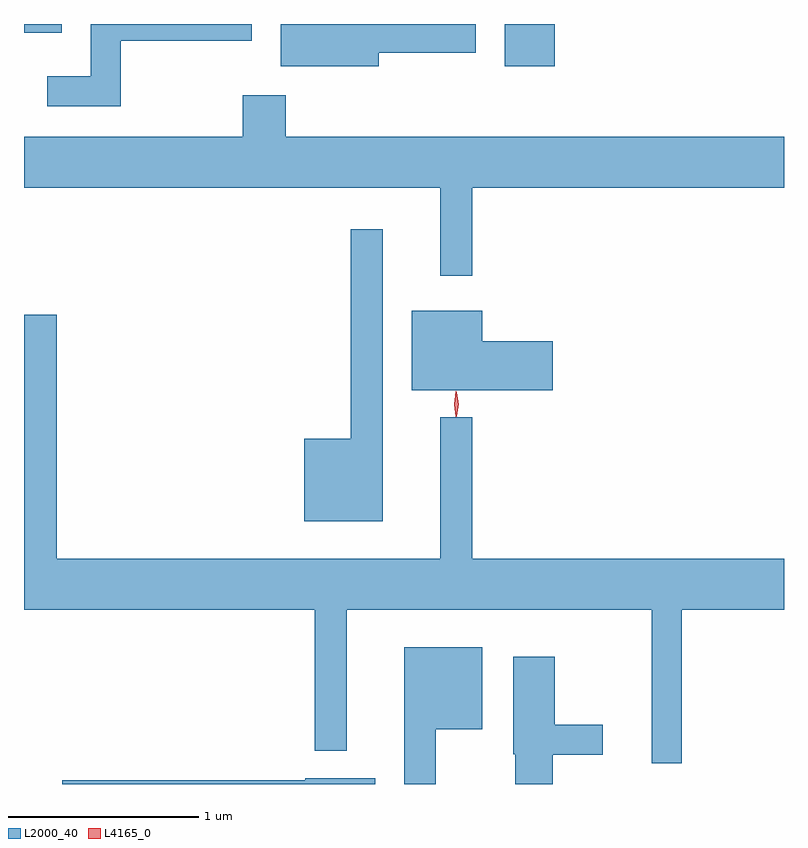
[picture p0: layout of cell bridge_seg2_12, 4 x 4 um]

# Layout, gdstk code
import gdstk
lib = gdstk.Library(unit=1e-6, precision=1e-09)
def R(c, l, rs):  # rectangles x0, y0, x1, y1
    for r in rs: c.add(gdstk.rectangle(r[:2], r[2:], *l))
def P(c, l, *ps):  # polygons
    for p in ps: c.add(gdstk.Polygon(p, *l))
L2000_40 = (2000, 40)
L4165_0 = (4165, 0)

bridge_seg2_12 = lib.new_cell('bridge_seg2_12')
R(bridge_seg2_12, L2000_40, [(1911.321,1024.536,1911.584,1024.758), (1908.791,1024.711,1908.989,1024.758)])
P(bridge_seg2_12, L2000_40, [(1909.299,1024.671),(1909.989,1024.671),(1909.989,1024.758),(1909.141,1024.758),(1909.141,1024.484),(1908.913,1024.484),(1908.913,1024.326),(1909.299,1024.326)],
  [(1910.659,1024.606),(1911.169,1024.606),(1911.169,1024.758),(1910.141,1024.758),(1910.141,1024.536),(1910.659,1024.536)],
  [(1911.149,1023.896),(1912.791,1023.896),(1912.791,1024.164),(1910.169,1024.164),(1910.169,1024.384),(1909.941,1024.384),(1909.941,1024.164),(1908.791,1024.164),(1908.791,1023.896),(1910.981,1023.896),(1910.981,1023.433),(1911.149,1023.433)],
  [(1910.679,1023.678),(1910.511,1023.678),(1910.511,1022.574),(1910.266,1022.574),(1910.266,1022.141),(1910.679,1022.141)],
  [(1911.574,1023.089),(1911.204,1023.089),(1911.204,1023.249),(1910.831,1023.249),(1910.831,1022.831),(1911.574,1022.831)],
  [(1912.254,1021.676),(1912.791,1021.676),(1912.791,1021.944),(1911.149,1021.944),(1911.149,1022.688),(1910.981,1022.688),(1910.981,1021.944),(1908.964,1021.944),(1908.964,1023.229),(1908.791,1023.229),(1908.791,1021.676),(1910.321,1021.676),(1910.321,1020.933),(1910.489,1020.933),(1910.489,1021.676),(1912.096,1021.676),(1912.096,1020.868),(1912.254,1020.868)],
  [(1910.959,1021.046),(1911.204,1021.046),(1911.204,1021.479),(1910.791,1021.479),(1910.791,1020.758),(1910.959,1020.758)],
  [(1911.574,1020.911),(1911.838,1020.911),(1911.838,1021.069),(1911.584,1021.069),(1911.584,1021.429),(1911.366,1021.429),(1911.366,1020.915),(1911.376,1020.915),(1911.376,1020.758),(1911.574,1020.758)],
  [(1910.639,1020.789),(1910.27,1020.789),(1910.27,1020.779),(1908.991,1020.779),(1908.991,1020.758),(1910.639,1020.758)])
P(bridge_seg2_12, L4165_0, [(1911.064,1022.69),(1911.055,1022.758),(1911.064,1022.825),(1911.064,1022.826),(1911.065,1022.825),(1911.074,1022.758),(1911.065,1022.69),(1911.065,1022.69)],
  [(1911.068,1022.693),(1911.068,1022.693),(1911.058,1022.756),(1911.068,1022.82),(1911.068,1022.82),(1911.069,1022.82),(1911.078,1022.756),(1911.069,1022.693)])

lib.write_gds('bridge_seg2_12.gds')
